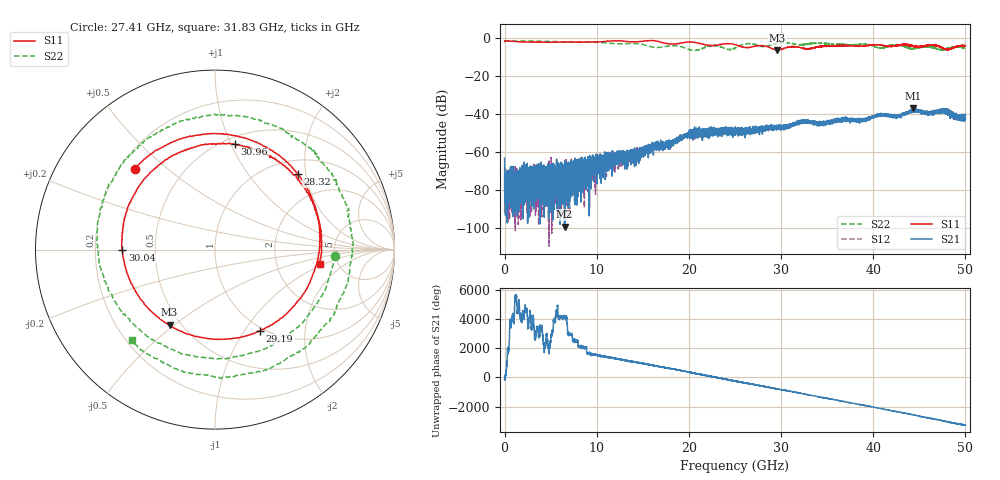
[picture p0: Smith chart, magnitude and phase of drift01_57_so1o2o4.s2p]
!Created with skrf (http://scikit-rf.org).
# Hz S RI R 50.0
!freq ReS11 ImS11 ReS21 ImS21 ReS12 ImS12 ReS22 ImS22
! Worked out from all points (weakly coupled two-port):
!   10001 points, 300 kHz to 50 GHz, reference 50 ohm
!   highest |S21| = -36.83 dB at 44.36 GHz (marker M1); lowest = -99.1 dB at 6.5 GHz (marker M2)
!   lowest |S11| = -6.2 dB at 29.61 GHz (marker M3), VSWR 2.92, Z = 21.8 - j24 ohm
!   |S11| at or under -10 dB: nowhere
!   |S22| runs from -6.4 to -1.4 dB; largest |S21 - S12| = 0.0043
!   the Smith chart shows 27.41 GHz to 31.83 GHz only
!   S11 on the Smith chart (normalised r, x): 27.41 GHz: 0.26, +0.39; 28.32 GHz: 1.30, +1.80; 29.19 GHz: 0.96, -1.18; 30.04 GHz: 0.32, -0.00; 30.96 GHz: 0.56, +1.03; 31.83 GHz: 3.66, -0.87
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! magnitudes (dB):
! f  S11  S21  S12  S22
! 300 kHz  -1.3  -63.1  -71.7  -2.1
! 315.3 MHz  -1.3  -77.0  -94.1  -1.4
! 4.87 GHz  -2.1  -86.7  -71.7  -1.6
! 6.5 GHz  -1.9  -99.1  -68.0  -1.9
! 8.335 GHz  -2.0  -67.5  -66.5  -1.8
! 16.67 GHz  -1.6  -57.5  -56.5  -4.8
! 18.62 GHz  -2.9  -55.0  -54.0  -3.9
! 20.12 GHz  -1.9  -48.0  -51.0  -6.0
! 22.62 GHz  -3.8  -48.1  -51.3  -3.8
! 25 GHz  -3.3  -48.3  -50.0  -5.0
! 27.41 GHz  -3.9  -49.1  -47.6  -3.5
! 28.32 GHz  -4.1  -47.0  -47.9  -4.3
! 29.19 GHz  -5.7  -46.5  -46.7  -3.0
! 29.61 GHz  -6.2  -46.8  -47.6  -2.5
! 30.04 GHz  -5.8  -46.8  -46.5  -2.3
! 30.96 GHz  -4.5  -46.7  -45.1  -2.4
! 31.83 GHz  -4.6  -43.8  -44.2  -3.3
! 33.34 GHz  -5.2  -43.7  -44.4  -2.7
! 41.67 GHz  -4.3  -40.7  -40.4  -4.0
! 44.36 GHz  -4.3  -36.8  -38.2  -5.5
! 47.74 GHz  -5.6  -38.1  -37.4  -5.8
! 50 GHz  -3.8  -42.7  -41.8  -5.2
